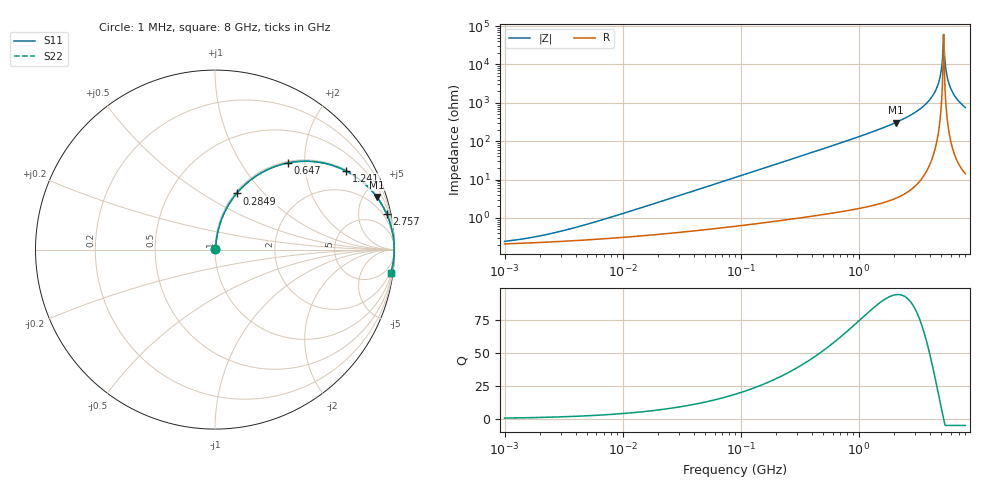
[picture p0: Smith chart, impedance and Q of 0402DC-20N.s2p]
# MHz  S  MA  R  50
!Freq  MagS11  AngS11  MagS21  AngS21  MagS12  AngS12  MagS22  AngS22
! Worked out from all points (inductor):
!   801 points, 1 MHz to 8 GHz, reference 50 ohm
!   read as one part in series: L = 20 nH near 6.831 MHz
!   highest Q = 94.5 at 2.058 GHz (marker M1), where L = 23.7 nH
!   self-resonance near 5.231 GHz
!   S11 on the Smith chart (normalised r, x): 1 MHz: 1.00, +0.00; 284.9 MHz: 1.02, +0.72; 647 MHz: 1.03, +1.65; 1.241 GHz: 1.04, +3.31; 2.757 GHz: 1.11, +9.59; 8 GHz: 1, -15
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1  0.002434 30.9  0.9979 -0.1  0.9979 -0.1  0.002434 30.9
4.507347  0.006221 64.9  0.9974 -0.3  0.9974 -0.3  0.006221 64.9
20.08917  0.02541 80.2  0.996 -1.4  0.996 -1.4  0.02541 80.2
89.53707  0.1113 80.6  0.9879 -6.4  0.9879 -6.4  0.1113 80.6
284.868  0.3352 68.9  0.9333 -19.6  0.9333 -19.6  0.3352 68.9
403.5746  0.4506 62.0  0.883 -26.8  0.883 -26.8  0.4506 62.0
646.97  0.6316 49.9  0.7648 -39.2  0.7648 -39.2  0.6316 49.9
1241.437  0.8511 31.0  0.5148 -58.3  0.5148 -58.3  0.8511 31.0
1798.725  0.9282 21.2  0.3621 -68.2  0.3621 -68.2  0.9282 21.2
2058.377  0.9476 18.0  0.3096 -71.4  0.3096 -71.4  0.9476 18.0
2756.799  0.9768 11.8  0.2037 -77.6  0.2037 -77.6  0.9768 11.8
3610.15  0.9916 6.6  0.1145 -82.5  0.1145 -82.5  0.9916 6.6
4321.21  0.9967 3.3  0.05838 -85.1  0.05838 -85.1  0.9967 3.3
4727.651  0.9979 1.8  0.03089 -85.2  0.03089 -85.2  0.9979 1.8
4889.737  0.9982 1.2  0.02064 -84.3  0.02064 -84.3  0.9982 1.2
5057.379  0.9983 0.6  0.01046 -80.4  0.01046 -80.4  0.9983 0.6
5230.769  0.9984 0.0  0.001653 -3.3  0.001653 -3.3  0.9984 0.0
5410.103  0.9983 -0.6  0.01028 80.1  0.01028 80.1  0.9983 -0.6
5658.816  0.998 -1.4  0.02386 84.5  0.02386 84.5  0.998 -1.4
6053.487  0.9972 -2.5  0.0444 85.1  0.0444 85.1  0.9972 -2.5
6849.923  0.9946 -4.7  0.08249 83.9  0.08249 83.9  0.9946 -4.7
8000  0.9888 -7.6  0.1316 81.4  0.1316 81.4  0.9888 -7.6
